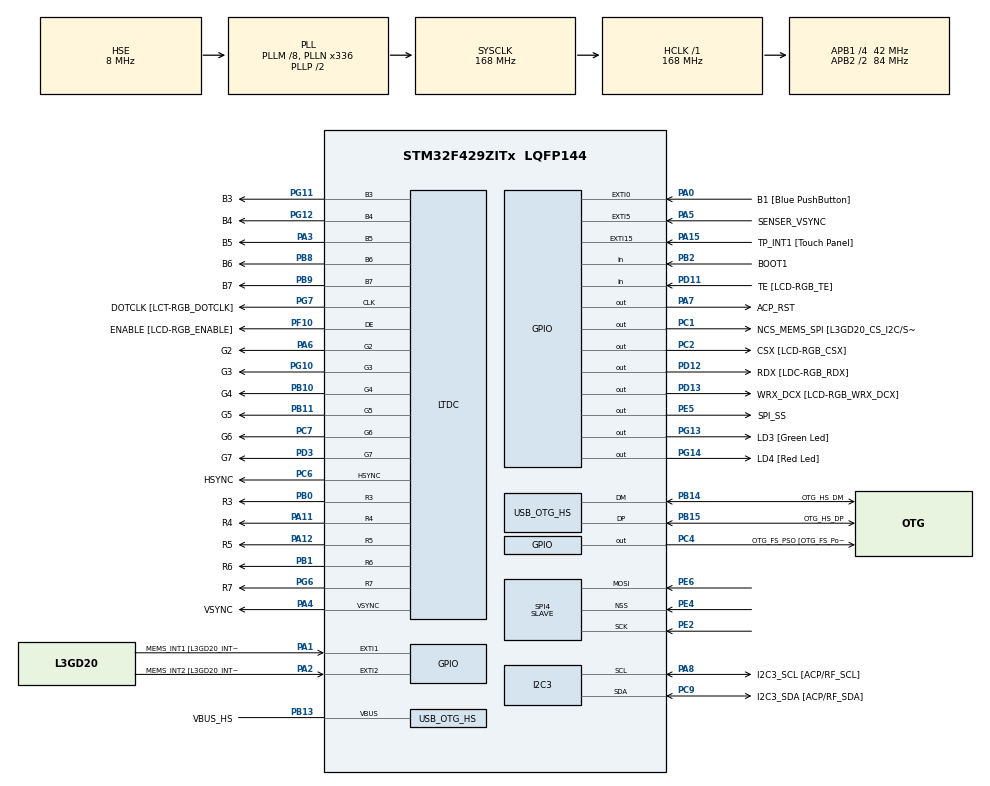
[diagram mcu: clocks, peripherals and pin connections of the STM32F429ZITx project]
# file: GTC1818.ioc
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Dma.I2C3_RX.1.Direction=DMA_PERIPH_TO_MEMORY
Dma.I2C3_RX.1.FIFOMode=DMA_FIFOMODE_DISABLE
Dma.I2C3_RX.1.Instance=DMA1_Stream2
Dma.I2C3_RX.1.MemDataAlignment=DMA_MDATAALIGN_BYTE
Dma.I2C3_RX.1.MemInc=DMA_MINC_ENABLE
Dma.I2C3_RX.1.Mode=DMA_NORMAL
Dma.I2C3_RX.1.PeriphDataAlignment=DMA_PDATAALIGN_BYTE
Dma.I2C3_RX.1.PeriphInc=DMA_PINC_DISABLE
Dma.I2C3_RX.1.Priority=DMA_PRIORITY_LOW
Dma.Request0=SPI4_RX
Dma.Request1=I2C3_RX
Dma.SPI4_RX.0.Direction=DMA_PERIPH_TO_MEMORY
Dma.SPI4_RX.0.FIFOMode=DMA_FIFOMODE_DISABLE
Dma.SPI4_RX.0.Instance=DMA2_Stream0
Dma.SPI4_RX.0.MemDataAlignment=DMA_MDATAALIGN_HALFWORD
Dma.SPI4_RX.0.MemInc=DMA_MINC_ENABLE
Dma.SPI4_RX.0.Mode=DMA_CIRCULAR
Dma.SPI4_RX.0.PeriphDataAlignment=DMA_PDATAALIGN_HALFWORD
Dma.SPI4_RX.0.PeriphInc=DMA_PINC_DISABLE
Dma.SPI4_RX.0.Priority=DMA_PRIORITY_LOW
LTDC.ActiveH=320
LTDC.ActiveW=240
LTDC.Alpha_L0=255
LTDC.BlendingFactor1_L0=LTDC_BLENDING_FACTOR1_PAxCA
LTDC.BlendingFactor2_L0=LTDC_BLENDING_FACTOR2_PAxCA
LTDC.FBStartAdress_L0=0xD0000000
LTDC.HBP=20
LTDC.HFP=10
LTDC.HSync=10
LTDC.ImageHeight_L0=320
LTDC.ImageWidth_L0=240
LTDC.Layers=0
LTDC.PixelFormat_L0=LTDC_PIXEL_FORMAT_RGB565
LTDC.VFP=4
LTDC.VSync=2
LTDC.WindowX1_L0=240
LTDC.WindowY1_L0=320
Mcu.Family=STM32F4
Mcu.Name=STM32F429ZITx
Mcu.Package=LQFP144
NVIC.DMA1_Stream2_IRQn=true\:0\:0\:false\:false\:true\:false\:true
NVIC.DMA2_Stream0_IRQn=true\:1\:0\:true\:false\:true\:false\:true
NVIC.EXTI0_IRQn=true\:0\:0\:false\:false\:true\:true\:true
NVIC.EXTI9_5_IRQn=true\:0\:0\:false\:false\:true\:true\:true
NVIC.LTDC_IRQn=true\:5\:0\:true\:false\:true\:true\:true
NVIC.OTG_HS_IRQn=true\:0\:0\:false\:false\:true\:true\:true
NVIC.PriorityGroup=NVIC_PRIORITYGROUP_4
NVIC.TIM6_DAC_IRQn=true\:0\:0\:false\:false\:true\:false\:true
NVIC.TimeBase=TIM6_DAC_IRQn
NVIC.TimeBaseIP=TIM6
PA0/WKUP.GPIO_Label=B1 [Blue PushButton]
PA0/WKUP.GPIO_ModeDefaultEXTI=GPIO_MODE_IT_RISING
PA0/WKUP.GPIO_PuPd=GPIO_NOPULL
PA0/WKUP.Signal=GPXTI0
PA1.GPIO_Label=MEMS_INT1 [L3GD20_INT1]
PA1.GPIO_ModeDefaultEXTI=GPIO_MODE_EVT_RISING
PA1.GPIO_PuPd=GPIO_NOPULL
PA1.Signal=GPXTI1
PA10.GPIO_Label=STLINK_TX [STM32F103CBT6_PA2]
PA10.Signal=USART1_RX
PA11.GPIO_Label=R4
PA11.GPIO_Mode=GPIO_MODE_AF_PP
PA11.GPIO_PuPd=GPIO_NOPULL
PA11.GPIO_Speed=GPIO_SPEED_FREQ_LOW
PA11.Mode=RGB565
PA11.Signal=LTDC_R4
PA12.GPIO_Label=R5
PA12.GPIO_Mode=GPIO_MODE_AF_PP
PA12.GPIO_PuPd=GPIO_NOPULL
PA12.GPIO_Speed=GPIO_SPEED_FREQ_LOW
PA12.Mode=RGB565
PA12.Signal=LTDC_R5
PA13.GPIO_Label=SWDIO
PA13.Mode=Serial_Wire
PA13.Signal=SYS_JTMS-SWDIO
PA14.GPIO_Label=SWCLK
PA14.Mode=Serial_Wire
PA14.Signal=SYS_JTCK-SWCLK
PA15.GPIO_Label=TP_INT1 [Touch Panel]
PA15.GPIO_ModeDefaultEXTI=GPIO_MODE_EVT_RISING
PA15.GPIO_PuPd=GPIO_NOPULL
PA15.Signal=GPXTI15
PA2.GPIO_Label=MEMS_INT2 [L3GD20_INT2]
PA2.GPIO_ModeDefaultEXTI=GPIO_MODE_EVT_RISING
PA2.GPIO_PuPd=GPIO_NOPULL
PA2.Signal=GPXTI2
PA3.GPIO_Label=B5
PA3.GPIO_Mode=GPIO_MODE_AF_PP
PA3.GPIO_PuPd=GPIO_NOPULL
PA3.GPIO_Speed=GPIO_SPEED_FREQ_LOW
PA3.Mode=RGB565
PA3.Signal=LTDC_B5
PA4.GPIO_Label=VSYNC
PA4.GPIO_Mode=GPIO_MODE_AF_PP
PA4.GPIO_PuPd=GPIO_NOPULL
PA4.GPIO_Speed=GPIO_SPEED_FREQ_LOW
PA4.Mode=RGB565
PA4.Signal=LTDC_VSYNC
PA5.GPIO_Label=SENSER_VSYNC
PA5.GPIO_ModeDefaultEXTI=GPIO_MODE_IT_FALLING
PA5.GPIO_PuPd=GPIO_PULLUP
PA5.Signal=GPXTI5
PA6.GPIO_Label=G2
PA6.GPIO_Mode=GPIO_MODE_AF_PP
PA6.GPIO_PuPd=GPIO_NOPULL
PA6.GPIO_Speed=GPIO_SPEED_FREQ_LOW
PA6.Mode=RGB565
PA6.Signal=LTDC_G2
PA7.GPIO_Label=ACP_RST
PA7.GPIO_Mode=GPIO_MODE_OUTPUT_PP
PA7.GPIO_PuPd=GPIO_NOPULL
PA7.GPIO_Speed=GPIO_SPEED_FREQ_LOW
PA7.Signal=GPIO_Output
PA8.GPIO_Label=I2C3_SCL [ACP/RF_SCL]
PA8.GPIO_Mode=GPIO_MODE_AF_OD
PA8.GPIO_PuPd=GPIO_NOPULL
PA8.GPIO_Speed=GPIO_SPEED_FREQ_LOW
PA8.Mode=I2C
PA8.Signal=I2C3_SCL
PA9.GPIO_Label=STLINK_RX [STM32F103CBT6_PA3]
PA9.Signal=USART1_TX
PB0.GPIO_Label=R3
PB0.GPIO_Mode=GPIO_MODE_AF_PP
PB0.GPIO_PuPd=GPIO_NOPULL
PB0.GPIO_Speed=GPIO_SPEED_FREQ_LOW
PB0.Mode=RGB565
PB0.Signal=LTDC_R3
PB1.GPIO_Label=R6
PB1.GPIO_Mode=GPIO_MODE_AF_PP
PB1.GPIO_PuPd=GPIO_NOPULL
PB1.GPIO_Speed=GPIO_SPEED_FREQ_LOW
PB1.Mode=RGB565
PB1.Signal=LTDC_R6
PB10.GPIO_Label=G4
PB10.GPIO_Mode=GPIO_MODE_AF_PP
PB10.GPIO_PuPd=GPIO_NOPULL
PB10.GPIO_Speed=GPIO_SPEED_FREQ_LOW
PB10.Mode=RGB565
PB10.Signal=LTDC_G4
PB11.GPIO_Label=G5
PB11.GPIO_Mode=GPIO_MODE_AF_PP
PB11.GPIO_PuPd=GPIO_NOPULL
PB11.GPIO_Speed=GPIO_SPEED_FREQ_LOW
PB11.Mode=RGB565
PB11.Signal=LTDC_G5
PB12.GPIO_Label=OTG_HS_ID
PB12.GPIO_Mode=GPIO_MODE_AF_PP
PB12.GPIO_PuPd=GPIO_NOPULL
PB12.GPIO_Speed=GPIO_SPEED_FREQ_LOW
PB12.Signal=USB_OTG_HS_ID
PB13.GPIO_Label=VBUS_HS
PB13.GPIO_Mode=GPIO_MODE_INPUT
PB13.GPIO_PuPd=GPIO_NOPULL
PB13.Mode=Activate_VBUS_FS
PB13.Signal=USB_OTG_HS_VBUS
PB14.GPIO_Label=OTG_HS_DM
PB14.GPIO_Mode=GPIO_MODE_AF_PP
PB14.GPIO_PuPd=GPIO_NOPULL
PB14.GPIO_Speed=GPIO_SPEED_FREQ_LOW
PB14.Mode=Device_Only_FS
PB14.Signal=USB_OTG_HS_DM
PB15.GPIO_Label=OTG_HS_DP
PB15.GPIO_Mode=GPIO_MODE_AF_PP
PB15.GPIO_PuPd=GPIO_NOPULL
PB15.GPIO_Speed=GPIO_SPEED_FREQ_LOW
PB15.Mode=Device_Only_FS
PB15.Signal=USB_OTG_HS_DP
PB2/BOOT1.GPIO_Label=BOOT1
PB2/BOOT1.GPIO_Mode=GPIO_MODE_INPUT
PB2/BOOT1.GPIO_PuPd=GPIO_NOPULL
PB2/BOOT1.Signal=GPIO_Input
PB5.GPIO_Label=SDCKE1
PB5.GPIO_Mode=GPIO_MODE_AF_PP
PB5.GPIO_PuPd=GPIO_NOPULL
PB5.GPIO_Speed=GPIO_SPEED_FREQ_VERY_HIGH
PB5.Signal=FMC_SDCKE1
PB6.GPIO_Label=SDNE1 [SDRAM_CS]
PB6.GPIO_Mode=GPIO_MODE_AF_PP
PB6.GPIO_PuPd=GPIO_NOPULL
PB6.GPIO_Speed=GPIO_SPEED_FREQ_VERY_HIGH
PB6.Signal=FMC_SDNE1
PB8.GPIO_Label=B6
PB8.GPIO_Mode=GPIO_MODE_AF_PP
PB8.GPIO_PuPd=GPIO_NOPULL
PB8.GPIO_Speed=GPIO_SPEED_FREQ_LOW
PB8.Mode=RGB565
PB8.Signal=LTDC_B6
PB9.GPIO_Label=B7
PB9.GPIO_Mode=GPIO_MODE_AF_PP
PB9.GPIO_PuPd=GPIO_NOPULL
PB9.GPIO_Speed=GPIO_SPEED_FREQ_LOW
PB9.Mode=RGB565
PB9.Signal=LTDC_B7
PC0.GPIO_Label=SDNWE
PC0.GPIO_Mode=GPIO_MODE_AF_PP
PC0.GPIO_PuPd=GPIO_NOPULL
PC0.GPIO_Speed=GPIO_SPEED_FREQ_VERY_HIGH
PC0.Signal=FMC_SDNWE
PC1.GPIO_Label=NCS_MEMS_SPI [L3GD20_CS_I2C/SPI]
PC1.GPIO_Mode=GPIO_MODE_OUTPUT_PP
PC1.GPIO_PuPd=GPIO_NOPULL
PC1.GPIO_Speed=GPIO_SPEED_FREQ_LOW
PC1.Signal=GPIO_Output
PC10.GPIO_Label=R2
PC10.GPIO_Mode=GPIO_MODE_AF_PP
PC10.GPIO_PuPd=GPIO_NOPULL
PC10.GPIO_Speed=GPIO_SPEED_FREQ_LOW
PC10.Signal=LTDC_R2
PC14/OSC32_IN.GPIO_Label=PC14-OSC32_IN
PC14/OSC32_IN.Signal=RCC_OSC32_IN
PC15/OSC32_OUT.GPIO_Label=PC15-OSC32_OUT
PC15/OSC32_OUT.Signal=RCC_OSC32_OUT
PC2.GPIO_Label=CSX [LCD-RGB_CSX]
PC2.GPIO_Mode=GPIO_MODE_OUTPUT_PP
PC2.GPIO_PuPd=GPIO_NOPULL
PC2.GPIO_Speed=GPIO_SPEED_FREQ_LOW
PC2.Signal=GPIO_Output
PC4.GPIO_Label=OTG_FS_PSO [OTG_FS_PowerSwitchOn]
PC4.GPIO_Mode=GPIO_MODE_OUTPUT_PP
PC4.GPIO_PuPd=GPIO_NOPULL
PC4.GPIO_Speed=GPIO_SPEED_FREQ_LOW
PC4.Signal=GPIO_Output
PC6.GPIO_Label=HSYNC
PC6.GPIO_Mode=GPIO_MODE_AF_PP
PC6.GPIO_PuPd=GPIO_NOPULL
PC6.GPIO_Speed=GPIO_SPEED_FREQ_LOW
PC6.Mode=RGB565
PC6.Signal=LTDC_HSYNC
PC7.GPIO_Label=G6
PC7.GPIO_Mode=GPIO_MODE_AF_PP
PC7.GPIO_PuPd=GPIO_NOPULL
PC7.GPIO_Speed=GPIO_SPEED_FREQ_LOW
PC7.Mode=RGB565
PC7.Signal=LTDC_G6
PC9.GPIO_Label=I2C3_SDA [ACP/RF_SDA]
PC9.GPIO_Mode=GPIO_MODE_AF_OD
PC9.GPIO_PuPd=GPIO_NOPULL
PC9.GPIO_Speed=GPIO_SPEED_FREQ_LOW
PC9.Mode=I2C
PC9.Signal=I2C3_SDA
PD0.GPIO_Label=D2
PD0.GPIO_Mode=GPIO_MODE_AF_PP
PD0.GPIO_PuPd=GPIO_NOPULL
PD0.GPIO_Speed=GPIO_SPEED_FREQ_VERY_HIGH
PD0.Signal=FMC_D2_DA2
PD1.GPIO_Label=D3
PD1.GPIO_Mode=GPIO_MODE_AF_PP
PD1.GPIO_PuPd=GPIO_NOPULL
PD1.GPIO_Speed=GPIO_SPEED_FREQ_VERY_HIGH
PD1.Signal=FMC_D3_DA3
PD10.GPIO_Label=D15
PD10.GPIO_Mode=GPIO_MODE_AF_PP
PD10.GPIO_PuPd=GPIO_NOPULL
PD10.GPIO_Speed=GPIO_SPEED_FREQ_VERY_HIGH
PD10.Signal=FMC_D15_DA15
PD11.GPIO_Label=TE [LCD-RGB_TE]
PD11.GPIO_Mode=GPIO_MODE_INPUT
PD11.GPIO_PuPd=GPIO_NOPULL
PD11.Signal=GPIO_Input
PD12.GPIO_Label=RDX [LDC-RGB_RDX]
PD12.GPIO_Mode=GPIO_MODE_OUTPUT_PP
PD12.GPIO_PuPd=GPIO_NOPULL
PD12.GPIO_Speed=GPIO_SPEED_FREQ_LOW
PD12.Signal=GPIO_Output
PD13.GPIO_Label=WRX_DCX [LCD-RGB_WRX_DCX]
PD13.GPIO_Mode=GPIO_MODE_OUTPUT_PP
PD13.GPIO_PuPd=GPIO_NOPULL
PD13.GPIO_Speed=GPIO_SPEED_FREQ_LOW
PD13.Signal=GPIO_Output
PD14.GPIO_Label=D0
PD14.GPIO_Mode=GPIO_MODE_AF_PP
PD14.GPIO_PuPd=GPIO_NOPULL
PD14.GPIO_Speed=GPIO_SPEED_FREQ_VERY_HIGH
PD14.Signal=FMC_D0_DA0
PD15.GPIO_Label=D1
PD15.GPIO_Mode=GPIO_MODE_AF_PP
PD15.GPIO_PuPd=GPIO_NOPULL
PD15.GPIO_Speed=GPIO_SPEED_FREQ_VERY_HIGH
PD15.Signal=FMC_D1_DA1
PD3.GPIO_Label=G7
PD3.GPIO_Mode=GPIO_MODE_AF_PP
PD3.GPIO_PuPd=GPIO_NOPULL
PD3.GPIO_Speed=GPIO_SPEED_FREQ_LOW
PD3.Mode=RGB565
PD3.Signal=LTDC_G7
PD6.GPIO_Label=B2
PD6.GPIO_Mode=GPIO_MODE_AF_PP
PD6.GPIO_PuPd=GPIO_NOPULL
PD6.GPIO_Speed=GPIO_SPEED_FREQ_LOW
PD6.Signal=LTDC_B2
PD8.GPIO_Label=D13
PD8.GPIO_Mode=GPIO_MODE_AF_PP
PD8.GPIO_PuPd=GPIO_NOPULL
PD8.GPIO_Speed=GPIO_SPEED_FREQ_VERY_HIGH
PD8.Signal=FMC_D13_DA13
PD9.GPIO_Label=D14
PD9.GPIO_Mode=GPIO_MODE_AF_PP
PD9.GPIO_PuPd=GPIO_NOPULL
PD9.GPIO_Speed=GPIO_SPEED_FREQ_VERY_HIGH
PD9.Signal=FMC_D14_DA14
PE0.GPIO_Label=NBL0 [SDRAM_LDQM]
PE0.GPIO_Mode=GPIO_MODE_AF_PP
PE0.GPIO_PuPd=GPIO_NOPULL
PE0.GPIO_Speed=GPIO_SPEED_FREQ_VERY_HIGH
PE0.Signal=FMC_NBL0
PE1.GPIO_Label=NBL1 [SDRAM_UDQM]
PE1.GPIO_Mode=GPIO_MODE_AF_PP
PE1.GPIO_PuPd=GPIO_NOPULL
PE1.GPIO_Speed=GPIO_SPEED_FREQ_VERY_HIGH
PE1.Signal=FMC_NBL1
PE10.GPIO_Label=D7
PE10.GPIO_Mode=GPIO_MODE_AF_PP
PE10.GPIO_PuPd=GPIO_NOPULL
PE10.GPIO_Speed=GPIO_SPEED_FREQ_VERY_HIGH
PE10.Signal=FMC_D7_DA7
PE11.GPIO_Label=D8
PE11.GPIO_Mode=GPIO_MODE_AF_PP
PE11.GPIO_PuPd=GPIO_NOPULL
PE11.GPIO_Speed=GPIO_SPEED_FREQ_VERY_HIGH
PE11.Signal=FMC_D8_DA8
PE12.GPIO_Label=D9
PE12.GPIO_Mode=GPIO_MODE_AF_PP
PE12.GPIO_PuPd=GPIO_NOPULL
PE12.GPIO_Speed=GPIO_SPEED_FREQ_VERY_HIGH
PE12.Signal=FMC_D9_DA9
PE13.GPIO_Label=D10
PE13.GPIO_Mode=GPIO_MODE_AF_PP
PE13.GPIO_PuPd=GPIO_NOPULL
PE13.GPIO_Speed=GPIO_SPEED_FREQ_VERY_HIGH
PE13.Signal=FMC_D10_DA10
PE14.GPIO_Label=D11
PE14.GPIO_Mode=GPIO_MODE_AF_PP
PE14.GPIO_PuPd=GPIO_NOPULL
PE14.GPIO_Speed=GPIO_SPEED_FREQ_VERY_HIGH
PE14.Signal=FMC_D11_DA11
PE15.GPIO_Label=D12
PE15.GPIO_Mode=GPIO_MODE_AF_PP
PE15.GPIO_PuPd=GPIO_NOPULL
PE15.GPIO_Speed=GPIO_SPEED_FREQ_VERY_HIGH
PE15.Signal=FMC_D12_DA12
PE2.Mode=RX_Only_Simplex_Unidirect_Slave
PE2.Signal=SPI4_SCK
PE4.Mode=NSS_Signal_Hard_Input
PE4.Signal=SPI4_NSS
PE5.GPIO_Label=SPI_SS
PE5.Signal=GPIO_Output
PE6.Mode=RX_Only_Simplex_Unidirect_Slave
PE6.Signal=SPI4_MOSI
PE7.GPIO_Label=D4
PE7.GPIO_Mode=GPIO_MODE_AF_PP
PE7.GPIO_PuPd=GPIO_NOPULL
PE7.GPIO_Speed=GPIO_SPEED_FREQ_VERY_HIGH
PE7.Signal=FMC_D4_DA4
PE8.GPIO_Label=D5
PE8.GPIO_Mode=GPIO_MODE_AF_PP
PE8.GPIO_PuPd=GPIO_NOPULL
PE8.GPIO_Speed=GPIO_SPEED_FREQ_VERY_HIGH
PE8.Signal=FMC_D5_DA5
PE9.GPIO_Label=D6
PE9.GPIO_Mode=GPIO_MODE_AF_PP
PE9.GPIO_PuPd=GPIO_NOPULL
PE9.GPIO_Speed=GPIO_SPEED_FREQ_VERY_HIGH
PE9.Signal=FMC_D6_DA6
PF0.GPIO_Label=A0
PF0.GPIO_Mode=GPIO_MODE_AF_PP
PF0.GPIO_PuPd=GPIO_NOPULL
PF0.GPIO_Speed=GPIO_SPEED_FREQ_VERY_HIGH
PF0.Signal=FMC_A0
PF1.GPIO_Label=A1
PF1.GPIO_Mode=GPIO_MODE_AF_PP
PF1.GPIO_PuPd=GPIO_NOPULL
PF1.GPIO_Speed=GPIO_SPEED_FREQ_VERY_HIGH
PF1.Signal=FMC_A1
PF10.GPIO_Label=ENABLE [LCD-RGB_ENABLE]
PF10.GPIO_Mode=GPIO_MODE_AF_PP
PF10.GPIO_PuPd=GPIO_NOPULL
PF10.GPIO_Speed=GPIO_SPEED_FREQ_LOW
PF10.Mode=RGB565
PF10.Signal=LTDC_DE
PF11.GPIO_Label=SDNRAS
PF11.GPIO_Mode=GPIO_MODE_AF_PP
PF11.GPIO_PuPd=GPIO_NOPULL
PF11.GPIO_Speed=GPIO_SPEED_FREQ_VERY_HIGH
PF11.Signal=FMC_SDNRAS
PF12.GPIO_Label=A6
PF12.GPIO_Mode=GPIO_MODE_AF_PP
PF12.GPIO_PuPd=GPIO_NOPULL
PF12.GPIO_Speed=GPIO_SPEED_FREQ_VERY_HIGH
PF12.Signal=FMC_A6
PF13.GPIO_Label=A7
PF13.GPIO_Mode=GPIO_MODE_AF_PP
PF13.GPIO_PuPd=GPIO_NOPULL
PF13.GPIO_Speed=GPIO_SPEED_FREQ_VERY_HIGH
PF13.Signal=FMC_A7
PF14.GPIO_Label=A8
PF14.GPIO_Mode=GPIO_MODE_AF_PP
PF14.GPIO_PuPd=GPIO_NOPULL
PF14.GPIO_Speed=GPIO_SPEED_FREQ_VERY_HIGH
PF14.Signal=FMC_A8
PF15.GPIO_Label=A9
PF15.GPIO_Mode=GPIO_MODE_AF_PP
PF15.GPIO_PuPd=GPIO_NOPULL
PF15.GPIO_Speed=GPIO_SPEED_FREQ_VERY_HIGH
PF15.Signal=FMC_A9
PF2.GPIO_Label=A2
PF2.GPIO_Mode=GPIO_MODE_AF_PP
PF2.GPIO_PuPd=GPIO_NOPULL
PF2.GPIO_Speed=GPIO_SPEED_FREQ_VERY_HIGH
PF2.Signal=FMC_A2
PF3.GPIO_Label=A3
PF3.GPIO_Mode=GPIO_MODE_AF_PP
PF3.GPIO_PuPd=GPIO_NOPULL
PF3.GPIO_Speed=GPIO_SPEED_FREQ_VERY_HIGH
PF3.Signal=FMC_A3
PF4.GPIO_Label=A4
PF4.GPIO_Mode=GPIO_MODE_AF_PP
PF4.GPIO_PuPd=GPIO_NOPULL
PF4.GPIO_Speed=GPIO_SPEED_FREQ_VERY_HIGH
PF4.Signal=FMC_A4
PF5.GPIO_Label=A5
PF5.GPIO_Mode=GPIO_MODE_AF_PP
PF5.GPIO_PuPd=GPIO_NOPULL
PF5.GPIO_Speed=GPIO_SPEED_FREQ_VERY_HIGH
PF5.Signal=FMC_A5
PF7.GPIO_Label=SPI5_SCK [L3GD20_SCL/SPC]
PF7.GPIO_Mode=GPIO_MODE_AF_PP
PF7.GPIO_PuPd=GPIO_NOPULL
PF7.GPIO_Speed=GPIO_SPEED_FREQ_LOW
PF7.Signal=SPI5_SCK
PF8.GPIO_Label=SPI5_MISO [L3GD20_SDO]
PF8.GPIO_Mode=GPIO_MODE_AF_PP
PF8.GPIO_PuPd=GPIO_NOPULL
PF8.GPIO_Speed=GPIO_SPEED_FREQ_LOW
PF8.Signal=SPI5_MISO
PF9.GPIO_Label=SPI5_MOSI [L3GD20_SDA/SDI/SDO]
PF9.GPIO_Mode=GPIO_MODE_AF_PP
PF9.GPIO_PuPd=GPIO_NOPULL
PF9.GPIO_Speed=GPIO_SPEED_FREQ_LOW
PF9.Signal=SPI5_MOSI
PG0.GPIO_Label=A10
PG0.GPIO_Mode=GPIO_MODE_AF_PP
PG0.GPIO_PuPd=GPIO_NOPULL
PG0.GPIO_Speed=GPIO_SPEED_FREQ_VERY_HIGH
PG0.Signal=FMC_A10
PG1.GPIO_Label=A11
PG1.GPIO_Mode=GPIO_MODE_AF_PP
PG1.GPIO_PuPd=GPIO_NOPULL
PG1.GPIO_Speed=GPIO_SPEED_FREQ_VERY_HIGH
PG1.Signal=FMC_A11
PG10.GPIO_Label=G3
PG10.GPIO_Mode=GPIO_MODE_AF_PP
PG10.GPIO_PuPd=GPIO_NOPULL
PG10.GPIO_Speed=GPIO_SPEED_FREQ_LOW
PG10.Mode=RGB565
PG10.Signal=LTDC_G3
PG11.GPIO_Label=B3
PG11.GPIO_Mode=GPIO_MODE_AF_PP
PG11.GPIO_PuPd=GPIO_NOPULL
PG11.GPIO_Speed=GPIO_SPEED_FREQ_LOW
PG11.Mode=RGB565
PG11.Signal=LTDC_B3
PG12.GPIO_Label=B4
PG12.GPIO_Mode=GPIO_MODE_AF_PP
PG12.GPIO_PuPd=GPIO_NOPULL
PG12.GPIO_Speed=GPIO_SPEED_FREQ_LOW
PG12.Mode=RGB565
PG12.Signal=LTDC_B4
PG13.GPIO_Label=LD3 [Green Led]
PG13.GPIO_Mode=GPIO_MODE_OUTPUT_PP
PG13.GPIO_PuPd=GPIO_NOPULL
PG13.GPIO_Speed=GPIO_SPEED_FREQ_LOW
PG13.Signal=GPIO_Output
PG14.GPIO_Label=LD4 [Red Led]
PG14.GPIO_Mode=GPIO_MODE_OUTPUT_PP
PG14.GPIO_PuPd=GPIO_NOPULL
PG14.GPIO_Speed=GPIO_SPEED_FREQ_LOW
PG14.Signal=GPIO_Output
PG15.GPIO_Label=SDNCAS
PG15.GPIO_Mode=GPIO_MODE_AF_PP
PG15.GPIO_PuPd=GPIO_NOPULL
PG15.GPIO_Speed=GPIO_SPEED_FREQ_VERY_HIGH
PG15.Signal=FMC_SDNCAS
PG4.GPIO_Label=BA0
PG4.GPIO_Mode=GPIO_MODE_AF_PP
PG4.GPIO_PuPd=GPIO_NOPULL
PG4.GPIO_Speed=GPIO_SPEED_FREQ_VERY_HIGH
PG4.Signal=FMC_A14_BA0
PG5.GPIO_Label=BA1
PG5.GPIO_Mode=GPIO_MODE_AF_PP
PG5.GPIO_PuPd=GPIO_NOPULL
PG5.GPIO_Speed=GPIO_SPEED_FREQ_VERY_HIGH
PG5.Signal=FMC_A15_BA1
PG6.GPIO_Label=R7
PG6.GPIO_Mode=GPIO_MODE_AF_PP
PG6.GPIO_PuPd=GPIO_NOPULL
PG6.GPIO_Speed=GPIO_SPEED_FREQ_LOW
PG6.Mode=RGB565
PG6.Signal=LTDC_R7
PG7.GPIO_Label=DOTCLK [LCT-RGB_DOTCLK]
PG7.GPIO_Mode=GPIO_MODE_AF_PP
PG7.GPIO_PuPd=GPIO_NOPULL
PG7.GPIO_Speed=GPIO_SPEED_FREQ_LOW
PG7.Mode=RGB565
PG7.Signal=LTDC_CLK
PG8.GPIO_Label=SDCLK
PG8.GPIO_Mode=GPIO_MODE_AF_PP
PG8.GPIO_PuPd=GPIO_NOPULL
PG8.GPIO_Speed=GPIO_SPEED_FREQ_VERY_HIGH
PG8.Signal=FMC_SDCLK
PH0/OSC_IN.GPIO_Label=PH0-OSC_IN
PH0/OSC_IN.Mode=HSE-External-Oscillator
PH0/OSC_IN.Signal=RCC_OSC_IN
PH1/OSC_OUT.GPIO_Label=PH1-OSC_OUT
PH1/OSC_OUT.Mode=HSE-External-Oscillator
PH1/OSC_OUT.Signal=RCC_OSC_OUT
ProjectManager.HeapSize=0x2000
ProjectManager.StackSize=0x4000
ProjectManager.TargetToolchain=MDK-ARM V5.27
RCC.48MHZClocksFreq_Value=48000000
RCC.AHBFreq_Value=168000000
RCC.APB1CLKDivider=RCC_HCLK_DIV4
RCC.APB1Freq_Value=42000000
RCC.APB1TimFreq_Value=84000000
RCC.APB2CLKDivider=RCC_HCLK_DIV2
RCC.APB2Freq_Value=84000000
RCC.APB2TimFreq_Value=168000000
RCC.CortexFreq_Value=168000000
RCC.HCLKFreq_Value=168000000
RCC.HSE_VALUE=8000000
RCC.HSI_VALUE=16000000
RCC.LSE_VALUE=32768
RCC.PLLM=8
RCC.PLLN=336
RCC.PLLQ=7
RCC.PLLSAIN=100
RCC.SYSCLKFreq_VALUE=168000000
RCC.SYSCLKSource=RCC_SYSCLKSOURCE_PLLCLK
RCC.VCOOutputFreq_Value=336000000
SH.FMC_A0.0=FMC_A0
SH.FMC_A1.0=FMC_A1
SH.FMC_A10.0=FMC_A10
SH.FMC_A11.0=FMC_A11
SH.FMC_A14_BA0.0=FMC_BA0
SH.FMC_A15_BA1.0=FMC_BA1
SH.FMC_A2.0=FMC_A2
SH.FMC_A3.0=FMC_A3
SH.FMC_A4.0=FMC_A4
SH.FMC_A5.0=FMC_A5
SH.FMC_A6.0=FMC_A6
SH.FMC_A7.0=FMC_A7
SH.FMC_A8.0=FMC_A8
SH.FMC_A9.0=FMC_A9
SH.FMC_D0_DA0.0=FMC_D0
SH.FMC_D10_DA10.0=FMC_D10
SH.FMC_D11_DA11.0=FMC_D11
SH.FMC_D12_DA12.0=FMC_D12
SH.FMC_D13_DA13.0=FMC_D13
SH.FMC_D14_DA14.0=FMC_D14
SH.FMC_D15_DA15.0=FMC_D15
SH.FMC_D1_DA1.0=FMC_D1
SH.FMC_D2_DA2.0=FMC_D2
SH.FMC_D3_DA3.0=FMC_D3
SH.FMC_D4_DA4.0=FMC_D4
SH.FMC_D5_DA5.0=FMC_D5
SH.FMC_D6_DA6.0=FMC_D6
SH.FMC_D7_DA7.0=FMC_D7
SH.FMC_D8_DA8.0=FMC_D8
SH.FMC_D9_DA9.0=FMC_D9
SH.FMC_NBL0.0=FMC_NBL0
SH.FMC_NBL1.0=FMC_NBL1
SH.FMC_SDCLK.0=FMC_SDCLK
SH.FMC_SDNCAS.0=FMC_SDNCAS
SH.FMC_SDNRAS.0=FMC_SDNRAS
SH.FMC_SDNWE.0=FMC_SDNWE
SPI4.DataSize=SPI_DATASIZE_16BIT
SPI4.Direction=SPI_DIRECTION_2LINES_RXONLY
SPI4.Mode=SPI_MODE_SLAVE
SPI4.VirtualNSS=VM_NSSHARD
SPI4.VirtualType=VM_SLAVE
USB_DEVICE.APP_RX_DATA_SIZE-CDC_HS=2048
USB_DEVICE.APP_TX_DATA_SIZE-CDC_HS=2048
USB_DEVICE.CLASS_NAME_HS=CDC
USB_DEVICE.MANUFACTURER_STRING-CDC_HS=GTC
USB_DEVICE.PID_CDC_HS=0x0018
USB_DEVICE.PRODUCT_STRING_CDC_HS=GTC1818
USB_DEVICE.USBD_MAX_STR_DESC_SIZ-CDC_HS=64
USB_DEVICE.VID-CDC_HS=0x5791
USB_DEVICE.VirtualMode-CDC_HS=Cdc
USB_DEVICE.VirtualModeHS=Cdc_HS
USB_OTG_HS.VirtualMode-Device_Only_FS=Device_Only_FS
VP_SYS_VS_tim6.Mode=TIM6
VP_USB_DEVICE_VS_USB_DEVICE_CDC_HS.Mode=CDC_HS
board=STM32F429I-DISC1

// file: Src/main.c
/* USER CODE BEGIN Header */
/**
  ******************************************************************************
  * @file           : main.c
  * @brief          : Main program body
  ******************************************************************************
  * @attention
  *
  * <h2><center>&copy; Copyright (c) 2020 STMicroelectronics.
  * All rights reserved.</center></h2>
  *
  * This software component is licensed by ST under Ultimate Liberty license
  * SLA0044, the "License"; You may not use this file except in compliance with
  * the License. You may obtain a copy of the License at:
  *                             www.st.com/SLA0044
  *
  ******************************************************************************
  */
/* USER CODE END Header */

#include "main.h"
#include "usb_device.h"

/* USER CODE BEGIN Includes */

#include "usbd_cdc_if.h"
#include "stdint.h"

/* USER CODE END Includes */

I2C_HandleTypeDef hi2c3;
DMA_HandleTypeDef hdma_i2c3_rx;

LTDC_HandleTypeDef hltdc;

SPI_HandleTypeDef hspi4;
DMA_HandleTypeDef hdma_spi4_rx;

void SystemClock_Config(void);
static void MX_GPIO_Init(void);
static void MX_DMA_Init(void);
static void MX_I2C3_Init(void);
static void MX_LTDC_Init(void);
static void MX_SPI4_Init(void);

/* USER CODE BEGIN 0 */

// cdc package buffer
USER_CDC_PACKAGE_TYPE_t user_cdc_buffer;

// current frame size
uint8_t frameSizeWidth=0;
uint8_t frameSizeHeight=0;

// 2 times image buffer from spi
uint8_t imgBuffer[2*22*22*2+2];
uint8_t calibrationPixel[2*18*2]={0x00,0x00,0x0F,0x0F,0x1E,0x1E,0x2D,0x2D,\
                                  0x3C,0x3C,0x4B,0x4B,0x5A,0x5A,0x69,0x69,\
                                  0x78,0x78,0x87,0x87,0x96,0x96,0xA5,0xA5,\
                                  0xB4,0xB4,0xC3,0xC3,0xD2,0xD2,0xE1,0xE1,\
                                  0xF0,0xF0,0xFF,0xFF,0x00,0x00,0x0F,0x0F,\
                                  0x1E,0x1E,0x2D,0x2D,0x3C,0x3C,0x4B,0x4B,\
                                  0x5A,0x5A,0x69,0x69,0x78,0x78,0x87,0x87,\
                                  0x96,0x96,0xA5,0xA5,0xB4,0xB4,0xC3,0xC3,\
                                  0xD2,0xD2,0xE1,0xE1,0xF0,0xF0,0xFF,0xFF};

// i2c control value buffer
uint8_t ctrlBuffer[100];

// image pointer
uint8_t imgRead=0;
// cdc command buffer
uint8_t commands[4];
// double frame buffer selector
uint8_t frameReady=1;
uint8_t ready=0;
// uint8_t sync=0;

// create testFrame
void createFrame(){
  for(int i=0;i<sizeof(imgBuffer);i++){
    imgBuffer[i]=i%256;
  }
}

// first read frame size on system startup
void getFrameSize(){
  commands[0]=28;
  HAL_I2C_Master_Transmit(&hi2c3,0x40,commands,1,10);
  HAL_I2C_Master_Receive(&hi2c3,0x40,&ctrlBuffer[28],1,10);
  commands[0]=30;
  HAL_I2C_Master_Transmit(&hi2c3,0x40,commands,1,10);
  HAL_I2C_Master_Receive(&hi2c3,0x40,&ctrlBuffer[30],1,10);
  commands[0]=32;
  HAL_I2C_Master_Transmit(&hi2c3,0x40,commands,1,10);
  HAL_I2C_Master_Receive(&hi2c3,0x40,&ctrlBuffer[32],1,10);
  commands[0]=34;
  HAL_I2C_Master_Transmit(&hi2c3,0x40,commands,1,10);
  HAL_I2C_Master_Receive(&hi2c3,0x40,&ctrlBuffer[34],1,10);

  ctrlBuffer[32]=21;
  ctrlBuffer[34]=21;
  ctrlBuffer[28]=0;
  ctrlBuffer[30]=0;

  if(0<ctrlBuffer[32]-ctrlBuffer[28]+1 && ctrlBuffer[32]-ctrlBuffer[28]+1<23){
    frameSizeWidth=ctrlBuffer[32]-ctrlBuffer[28]+1;
  }
  if(0<ctrlBuffer[34]-ctrlBuffer[30]+1 && ctrlBuffer[34]-ctrlBuffer[30]+1<23){
    frameSizeHeight=ctrlBuffer[34]-ctrlBuffer[30]+1;
  }
}

// preset spi and dma interface then wait the vsync fail
void resyncFrame(){
  HAL_NVIC_DisableIRQ(EXTI9_5_IRQn);
  HAL_GPIO_WritePin(SPI_SS_GPIO_Port,SPI_SS_Pin,GPIO_PIN_SET);
  HAL_SPI_DeInit(&hspi4);
  HAL_DMA_DeInit(&hdma_spi4_rx);
  HAL_DMA_Init(&hdma_spi4_rx);
  HAL_SPI_Init(&hspi4);
  HAL_SPI_Receive_DMA(&hspi4,(uint8_t*)imgBuffer,2*frameSizeWidth*frameSizeHeight);
  // frameReady=4;

  // clear imgBuffer to check if frame size changed
  // for(int i=0;i<sizeof(imgBuffer);i++) imgBuffer[i]=0;

  HAL_NVIC_EnableIRQ(EXTI9_5_IRQn);
}

void HAL_GPIO_EXTI_Callback(uint16_t GPIO_Pin){
  if(GPIO_Pin==SENSER_VSYNC_Pin){
    HAL_GPIO_TogglePin(LD3_GPIO_Port,LD3_Pin);
  }
  if(GPIO_Pin==B1_Pin){
    HAL_GPIO_TogglePin(LD4_GPIO_Port,LD4_Pin);
    HAL_NVIC_DisableIRQ(EXTI0_IRQn);
  }
  // getFrameSize();
  // resyncFrame();
}

// spi complete indicator
void HAL_SPI_RxCpltCallback(SPI_HandleTypeDef *hspi){
 HAL_GPIO_TogglePin(GPIOG,GPIO_PIN_13);
 HAL_GPIO_TogglePin(GPIOG,GPIO_PIN_13);
	// ;
}

/* USER CODE END 0 */

int main(void)
{

  /* MCU Configuration--------------------------------------------------------*/

  /* Reset of all peripherals, Initializes the Flash interface and the Systick. */
  HAL_Init();

  /* Configure the system clock */
  SystemClock_Config();

  /* Initialize all configured peripherals */
  MX_GPIO_Init();
  MX_DMA_Init();
  MX_I2C3_Init();
  MX_LTDC_Init();
  MX_USB_DEVICE_Init();
  MX_SPI4_Init();
  /* USER CODE BEGIN 2 */

  // read frame size for gui screen
  getFrameSize();
  // first frame sync on system startup
  // resyncFrame();
  createFrame();

  /* USER CODE END 2 */

  /* Infinite loop */
  /* USER CODE BEGIN WHILE */
  while (1){

    // cdc command handler
		if(user_cdc_buffer.len>0){
      switch(user_cdc_buffer.data[0]){
      // read frame size
        case 10:
          if(ctrlBuffer[32]-ctrlBuffer[28]+1>0){
            frameSizeWidth=ctrlBuffer[32]-ctrlBuffer[28]+1;
          }
          commands[0]=10; //ack
          commands[1]=frameSizeWidth;
          commands[2]=ctrlBuffer[28];
          commands[3]=ctrlBuffer[32];
          CDC_Transmit_HS(commands,4);
          break;
        case 11:
          if(ctrlBuffer[34]-ctrlBuffer[30]+1>0){
            frameSizeHeight=ctrlBuffer[34]-ctrlBuffer[30]+1;
          }
          commands[0]=11; //ack
          commands[1]=frameSizeHeight;
          commands[2]=ctrlBuffer[30];
          commands[3]=ctrlBuffer[34];
          CDC_Transmit_HS(commands,4);
          break;
      // read imgBuffer
        case 17:
          imgRead=1;
          break;
      // read calibration
        case 20:
          imgRead=2;
          break;
      /**
       * i2c write special address
       *   cdc => ctrlBuffer[x]
       *   ack + ctrlBuffer[x] => cdc ack(1 bytes)
       */
        case 33:
          ctrlBuffer[user_cdc_buffer.data[1]]=user_cdc_buffer.data[2];
          commands[0]=user_cdc_buffer.data[1];
          commands[1]=user_cdc_buffer.data[2];
          HAL_I2C_Master_Transmit(&hi2c3,0x40,commands,2,10);
          if(commands[0]==18\
          || commands[0]==19\
          || commands[0]==20\
          || commands[0]==21\
          || commands[0]==28\
          || commands[0]==30\
          || commands[0]==32\
          || commands[0]==34){
            if(ctrlBuffer[32]-ctrlBuffer[28]+1>0){
              frameSizeWidth=ctrlBuffer[32]-ctrlBuffer[28]+1;
            }
            if(ctrlBuffer[34]-ctrlBuffer[30]+1>0){
              frameSizeHeight=ctrlBuffer[34]-ctrlBuffer[30]+1;
            }
            resyncFrame();
          }

          // user_cdc_buffer.data[0]=ack;
          CDC_Transmit_HS(user_cdc_buffer.data,1);
          break;
      /**
       * i2c write all
       *   cdc => ctrlBuffer => I2C(maximum 256 bytes)
       *   ack => cdc 36(1byte)
       */
        case 36:
          // ctrlBuffer[user_cdc_buffer.data[1]]=user_cdc_buffer.data[2];
          // user_cdc_buffer.data[0]=ack;
          CDC_Transmit_HS(user_cdc_buffer.data,1);
          break;
      /**
       * i2c read special address
       *   I2C => ctrlBuffer[x]
       *   ack + ctrlBuffer[x] => cdc ack+data(2 bytes)
       */
        case 97:
          // user_cdc_buffer.data[0]=ack=>97;
          HAL_I2C_Master_Transmit(&hi2c3,0x40,&user_cdc_buffer.data[1],1,10);
          HAL_I2C_Master_Receive(&hi2c3,0x40,&ctrlBuffer[user_cdc_buffer.data[1]],1,10);
          user_cdc_buffer.data[1]=ctrlBuffer[user_cdc_buffer.data[1]];
          CDC_Transmit_HS(user_cdc_buffer.data,2);
          break;
      /**
       * i2c read all
       *   ack => cdc 100(1 byte)
       *   I2C => ctrlBuffer => cdc(maximum 256 bytes)
       */
        case 100:
          // user_cdc_buffer.data[0]=ack=>100;
          CDC_Transmit_HS(user_cdc_buffer.data,1);
          for(commands[0]=0;commands[0]<sizeof(ctrlBuffer);commands[0]++){
            HAL_I2C_Master_Transmit(&hi2c3,0x40,commands,1,10);
            HAL_I2C_Master_Receive(&hi2c3,0x40,&ctrlBuffer[commands[0]],1,10);
          }
          CDC_Transmit_HS(ctrlBuffer,sizeof(ctrlBuffer));
          break;
        default:
          break;
      }
      user_cdc_buffer.len = 0;
    }

    if(imgRead==1 && ready==1){
      if(frameReady==0){
        CDC_Transmit_HS(&imgBuffer[2],2*frameSizeWidth*frameSizeHeight);
      }
      else if(frameReady==1){
        imgBuffer[4*frameSizeWidth*frameSizeHeight]=imgBuffer[0];
        imgBuffer[4*frameSizeWidth*frameSizeHeight+1]=imgBuffer[1];
        CDC_Transmit_HS(&imgBuffer[2+2*frameSizeWidth*frameSizeHeight],2*frameSizeWidth*frameSizeHeight);
      }
      imgRead=0;
    }

    if(imgRead==2){
      CDC_Transmit_HS(calibrationPixel,36);
      imgRead=0;
    }

    /* USER CODE END WHILE */

  }
}

void SystemClock_Config(void)
{
  RCC_OscInitTypeDef RCC_OscInitStruct = {0};
  RCC_ClkInitTypeDef RCC_ClkInitStruct = {0};
  RCC_PeriphCLKInitTypeDef PeriphClkInitStruct = {0};

  /** Configure the main internal regulator output voltage
  */
  __HAL_RCC_PWR_CLK_ENABLE();
  __HAL_PWR_VOLTAGESCALING_CONFIG(PWR_REGULATOR_VOLTAGE_SCALE1);
  /** Initializes the CPU, AHB and APB busses clocks
  */
  RCC_OscInitStruct.OscillatorType = RCC_OSCILLATORTYPE_HSE;
  RCC_OscInitStruct.HSEState = RCC_HSE_ON;
  RCC_OscInitStruct.PLL.PLLState = RCC_PLL_ON;
  RCC_OscInitStruct.PLL.PLLSource = RCC_PLLSOURCE_HSE;
  RCC_OscInitStruct.PLL.PLLM = 8;
  RCC_OscInitStruct.PLL.PLLN = 336;
  RCC_OscInitStruct.PLL.PLLP = RCC_PLLP_DIV2;
  RCC_OscInitStruct.PLL.PLLQ = 7;
  if (HAL_RCC_OscConfig(&RCC_OscInitStruct) != HAL_OK)
  {
    Error_Handler();
  }
  /** Initializes the CPU, AHB and APB busses clocks
  */
  RCC_ClkInitStruct.ClockType = RCC_CLOCKTYPE_HCLK|RCC_CLOCKTYPE_SYSCLK
                              |RCC_CLOCKTYPE_PCLK1|RCC_CLOCKTYPE_PCLK2;
  RCC_ClkInitStruct.SYSCLKSource = RCC_SYSCLKSOURCE_PLLCLK;
  RCC_ClkInitStruct.AHBCLKDivider = RCC_SYSCLK_DIV1;
  RCC_ClkInitStruct.APB1CLKDivider = RCC_HCLK_DIV4;
  RCC_ClkInitStruct.APB2CLKDivider = RCC_HCLK_DIV2;

  if (HAL_RCC_ClockConfig(&RCC_ClkInitStruct, FLASH_LATENCY_5) != HAL_OK)
  {
    Error_Handler();
  }
  PeriphClkInitStruct.PeriphClockSelection = RCC_PERIPHCLK_LTDC;
  PeriphClkInitStruct.PLLSAI.PLLSAIN = 100;
  PeriphClkInitStruct.PLLSAI.PLLSAIR = 2;
  PeriphClkInitStruct.PLLSAIDivR = RCC_PLLSAIDIVR_2;
  if (HAL_RCCEx_PeriphCLKConfig(&PeriphClkInitStruct) != HAL_OK)
  {
    Error_Handler();
  }
}

static void MX_I2C3_Init(void)
{

  hi2c3.Instance = I2C3;
  hi2c3.Init.ClockSpeed = 100000;
  hi2c3.Init.DutyCycle = I2C_DUTYCYCLE_2;
  hi2c3.Init.OwnAddress1 = 0;
  hi2c3.Init.AddressingMode = I2C_ADDRESSINGMODE_7BIT;
  hi2c3.Init.DualAddressMode = I2C_DUALADDRESS_DISABLE;
  hi2c3.Init.OwnAddress2 = 0;
  hi2c3.Init.GeneralCallMode = I2C_GENERALCALL_DISABLE;
  hi2c3.Init.NoStretchMode = I2C_NOSTRETCH_DISABLE;
  if (HAL_I2C_Init(&hi2c3) != HAL_OK)
  {
    Error_Handler();
  }
  /** Configure Analogue filter
  */
  if (HAL_I2CEx_ConfigAnalogFilter(&hi2c3, I2C_ANALOGFILTER_ENABLE) != HAL_OK)
  {
    Error_Handler();
  }
  /** Configure Digital filter
  */
  if (HAL_I2CEx_ConfigDigitalFilter(&hi2c3, 0) != HAL_OK)
  {
    Error_Handler();
  }

}

static void MX_LTDC_Init(void)
{

  LTDC_LayerCfgTypeDef pLayerCfg = {0};

  hltdc.Instance = LTDC;
  hltdc.Init.HSPolarity = LTDC_HSPOLARITY_AL;
  hltdc.Init.VSPolarity = LTDC_VSPOLARITY_AL;
  hltdc.Init.DEPolarity = LTDC_DEPOLARITY_AL;
  hltdc.Init.PCPolarity = LTDC_PCPOLARITY_IPC;
  hltdc.Init.HorizontalSync = 9;
  hltdc.Init.VerticalSync = 1;
  hltdc.Init.AccumulatedHBP = 29;
  hltdc.Init.AccumulatedVBP = 3;
  hltdc.Init.AccumulatedActiveW = 269;
  hltdc.Init.AccumulatedActiveH = 323;
  hltdc.Init.TotalWidth = 279;
  hltdc.Init.TotalHeigh = 327;
  hltdc.Init.Backcolor.Blue = 0;
  hltdc.Init.Backcolor.Green = 0;
  hltdc.Init.Backcolor.Red = 0;
  if (HAL_LTDC_Init(&hltdc) != HAL_OK)
  {
    Error_Handler();
  }
  pLayerCfg.WindowX0 = 0;
  pLayerCfg.WindowX1 = 240;
  pLayerCfg.WindowY0 = 0;
  pLayerCfg.WindowY1 = 320;
  pLayerCfg.PixelFormat = LTDC_PIXEL_FORMAT_RGB565;
  pLayerCfg.Alpha = 255;
  pLayerCfg.Alpha0 = 0;
  pLayerCfg.BlendingFactor1 = LTDC_BLENDING_FACTOR1_PAxCA;
  pLayerCfg.BlendingFactor2 = LTDC_BLENDING_FACTOR2_PAxCA;
  pLayerCfg.FBStartAdress = 0xD0000000;
  pLayerCfg.ImageWidth = 240;
  pLayerCfg.ImageHeight = 320;
  pLayerCfg.Backcolor.Blue = 0;
  pLayerCfg.Backcolor.Green = 0;
  pLayerCfg.Backcolor.Red = 0;
  if (HAL_LTDC_ConfigLayer(&hltdc, &pLayerCfg, 0) != HAL_OK)
  {
    Error_Handler();
  }

}

static void MX_SPI4_Init(void)
{

  /* SPI4 parameter configuration*/
  hspi4.Instance = SPI4;
  hspi4.Init.Mode = SPI_MODE_SLAVE;
  hspi4.Init.Direction = SPI_DIRECTION_2LINES_RXONLY;
  hspi4.Init.DataSize = SPI_DATASIZE_16BIT;
  hspi4.Init.CLKPolarity = SPI_POLARITY_LOW;
  hspi4.Init.CLKPhase = SPI_PHASE_1EDGE;
  hspi4.Init.NSS = SPI_NSS_HARD_INPUT;
  hspi4.Init.FirstBit = SPI_FIRSTBIT_MSB;
  hspi4.Init.TIMode = SPI_TIMODE_DISABLE;
  hspi4.Init.CRCCalculation = SPI_CRCCALCULATION_DISABLE;
  hspi4.Init.CRCPolynomial = 10;
  if (HAL_SPI_Init(&hspi4) != HAL_OK)
  {
    Error_Handler();
  }

}

static void MX_DMA_Init(void)
{

  /* DMA controller clock enable */
  __HAL_RCC_DMA2_CLK_ENABLE();
  __HAL_RCC_DMA1_CLK_ENABLE();

  /* DMA interrupt init */
  /* DMA1_Stream2_IRQn interrupt configuration */
  HAL_NVIC_SetPriority(DMA1_Stream2_IRQn, 0, 0);
  HAL_NVIC_EnableIRQ(DMA1_Stream2_IRQn);
  /* DMA2_Stream0_IRQn interrupt configuration */
  HAL_NVIC_SetPriority(DMA2_Stream0_IRQn, 1, 0);
  HAL_NVIC_EnableIRQ(DMA2_Stream0_IRQn);

}

static void MX_GPIO_Init(void)
{
  GPIO_InitTypeDef GPIO_InitStruct = {0};

  /* GPIO Ports Clock Enable */
  __HAL_RCC_GPIOE_CLK_ENABLE();
  __HAL_RCC_GPIOC_CLK_ENABLE();
  __HAL_RCC_GPIOF_CLK_ENABLE();
  __HAL_RCC_GPIOH_CLK_ENABLE();
  __HAL_RCC_GPIOA_CLK_ENABLE();
  __HAL_RCC_GPIOB_CLK_ENABLE();
  __HAL_RCC_GPIOG_CLK_ENABLE();
  __HAL_RCC_GPIOD_CLK_ENABLE();

  /*Configure GPIO pin Output Level */
  HAL_GPIO_WritePin(SPI_SS_GPIO_Port, SPI_SS_Pin, GPIO_PIN_RESET);

  /*Configure GPIO pin Output Level */
  HAL_GPIO_WritePin(GPIOC, NCS_MEMS_SPI_Pin|CSX_Pin|OTG_FS_PSO_Pin, GPIO_PIN_RESET);

  /*Configure GPIO pin Output Level */
  HAL_GPIO_WritePin(ACP_RST_GPIO_Port, ACP_RST_Pin, GPIO_PIN_RESET);

  /*Configure GPIO pin Output Level */
  HAL_GPIO_WritePin(GPIOD, RDX_Pin|WRX_DCX_Pin, GPIO_PIN_RESET);

  /*Configure GPIO pin Output Level */
  HAL_GPIO_WritePin(GPIOG, LD3_Pin|LD4_Pin, GPIO_PIN_RESET);

  /*Configure GPIO pin : SPI_SS_Pin */
  GPIO_InitStruct.Pin = SPI_SS_Pin;
  GPIO_InitStruct.Mode = GPIO_MODE_OUTPUT_PP;
  GPIO_InitStruct.Pull = GPIO_NOPULL;
  GPIO_InitStruct.Speed = GPIO_SPEED_FREQ_LOW;
  HAL_GPIO_Init(SPI_SS_GPIO_Port, &GPIO_InitStruct);

  /*Configure GPIO pins : A0_Pin A1_Pin A2_Pin A3_Pin
                           A4_Pin A5_Pin SDNRAS_Pin A6_Pin
                           A7_Pin A8_Pin A9_Pin */
  GPIO_InitStruct.Pin = A0_Pin|A1_Pin|A2_Pin|A3_Pin
                          |A4_Pin|A5_Pin|SDNRAS_Pin|A6_Pin
                          |A7_Pin|A8_Pin|A9_Pin;
  GPIO_InitStruct.Mode = GPIO_MODE_AF_PP;
  GPIO_InitStruct.Pull = GPIO_NOPULL;
  GPIO_InitStruct.Speed = GPIO_SPEED_FREQ_VERY_HIGH;
  GPIO_InitStruct.Alternate = GPIO_AF12_FMC;
  HAL_GPIO_Init(GPIOF, &GPIO_InitStruct);

  /*Configure GPIO pins : SPI5_SCK_Pin SPI5_MISO_Pin SPI5_MOSI_Pin */
  GPIO_InitStruct.Pin = SPI5_SCK_Pin|SPI5_MISO_Pin|SPI5_MOSI_Pin;
  GPIO_InitStruct.Mode = GPIO_MODE_AF_PP;
  GPIO_InitStruct.Pull = GPIO_NOPULL;
  GPIO_InitStruct.Speed = GPIO_SPEED_FREQ_LOW;
  GPIO_InitStruct.Alternate = GPIO_AF5_SPI5;
  HAL_GPIO_Init(GPIOF, &GPIO_InitStruct);

  /*Configure GPIO pin : SDNWE_Pin */
  GPIO_InitStruct.Pin = SDNWE_Pin;
  GPIO_InitStruct.Mode = GPIO_MODE_AF_PP;
  GPIO_InitStruct.Pull = GPIO_NOPULL;
  GPIO_InitStruct.Speed = GPIO_SPEED_FREQ_VERY_HIGH;
  GPIO_InitStruct.Alternate = GPIO_AF12_FMC;
  HAL_GPIO_Init(SDNWE_GPIO_Port, &GPIO_InitStruct);

  /*Configure GPIO pins : NCS_MEMS_SPI_Pin CSX_Pin OTG_FS_PSO_Pin */
  GPIO_InitStruct.Pin = NCS_MEMS_SPI_Pin|CSX_Pin|OTG_FS_PSO_Pin;
  GPIO_InitStruct.Mode = GPIO_MODE_OUTPUT_PP;
  GPIO_InitStruct.Pull = GPIO_NOPULL;
  GPIO_InitStruct.Speed = GPIO_SPEED_FREQ_LOW;
  HAL_GPIO_Init(GPIOC, &GPIO_InitStruct);

  /*Configure GPIO pin : B1_Pin */
  GPIO_InitStruct.Pin = B1_Pin;
  GPIO_InitStruct.Mode = GPIO_MODE_IT_RISING;
  GPIO_InitStruct.Pull = GPIO_NOPULL;
  HAL_GPIO_Init(B1_GPIO_Port, &GPIO_InitStruct);

  /*Configure GPIO pins : MEMS_INT1_Pin MEMS_INT2_Pin TP_INT1_Pin */
  GPIO_InitStruct.Pin = MEMS_INT1_Pin|MEMS_INT2_Pin|TP_INT1_Pin;
  GPIO_InitStruct.Mode = GPIO_MODE_EVT_RISING;
  GPIO_InitStruct.Pull = GPIO_NOPULL;
  HAL_GPIO_Init(GPIOA, &GPIO_InitStruct);

  /*Configure GPIO pin : SENSER_VSYNC_Pin */
  GPIO_InitStruct.Pin = SENSER_VSYNC_Pin;
  GPIO_InitStruct.Mode = GPIO_MODE_IT_FALLING;
  GPIO_InitStruct.Pull = GPIO_PULLUP;
  HAL_GPIO_Init(SENSER_VSYNC_GPIO_Port, &GPIO_InitStruct);

  /*Configure GPIO pin : ACP_RST_Pin */
  GPIO_InitStruct.Pin = ACP_RST_Pin;
  GPIO_InitStruct.Mode = GPIO_MODE_OUTPUT_PP;
  GPIO_InitStruct.Pull = GPIO_NOPULL;
  GPIO_InitStruct.Speed = GPIO_SPEED_FREQ_LOW;
  HAL_GPIO_Init(ACP_RST_GPIO_Port, &GPIO_InitStruct);

  /*Configure GPIO pin : BOOT1_Pin */
  GPIO_InitStruct.Pin = BOOT1_Pin;
  GPIO_InitStruct.Mode = GPIO_MODE_INPUT;
  GPIO_InitStruct.Pull = GPIO_NOPULL;
  HAL_GPIO_Init(BOOT1_GPIO_Port, &GPIO_InitStruct);

  /*Configure GPIO pins : A10_Pin A11_Pin BA0_Pin BA1_Pin
                           SDCLK_Pin SDNCAS_Pin */
  GPIO_InitStruct.Pin = A10_Pin|A11_Pin|BA0_Pin|BA1_Pin
                          |SDCLK_Pin|SDNCAS_Pin;
  GPIO_InitStruct.Mode = GPIO_MODE_AF_PP;
  GPIO_InitStruct.Pull = GPIO_NOPULL;
  GPIO_InitStruct.Speed = GPIO_SPEED_FREQ_VERY_HIGH;
  GPIO_InitStruct.Alternate = GPIO_AF12_FMC;
  HAL_GPIO_Init(GPIOG, &GPIO_InitStruct);

  /*Configure GPIO pins : D4_Pin D5_Pin D6_Pin D7_Pin
                           D8_Pin D9_Pin D10_Pin D11_Pin
                           D12_Pin NBL0_Pin NBL1_Pin */
  GPIO_InitStruct.Pin = D4_Pin|D5_Pin|D6_Pin|D7_Pin
                          |D8_Pin|D9_Pin|D10_Pin|D11_Pin
                          |D12_Pin|NBL0_Pin|NBL1_Pin;
  GPIO_InitStruct.Mode = GPIO_MODE_AF_PP;
  GPIO_InitStruct.Pull = GPIO_NOPULL;
  GPIO_InitStruct.Speed = GPIO_SPEED_FREQ_VERY_HIGH;
  GPIO_InitStruct.Alternate = GPIO_AF12_FMC;
  HAL_GPIO_Init(GPIOE, &GPIO_InitStruct);

  /*Configure GPIO pins : D13_Pin D14_Pin D15_Pin D0_Pin
                           D1_Pin D2_Pin D3_Pin */
  GPIO_InitStruct.Pin = D13_Pin|D14_Pin|D15_Pin|D0_Pin
                          |D1_Pin|D2_Pin|D3_Pin;
  GPIO_InitStruct.Mode = GPIO_MODE_AF_PP;
  GPIO_InitStruct.Pull = GPIO_NOPULL;
  GPIO_InitStruct.Speed = GPIO_SPEED_FREQ_VERY_HIGH;
  GPIO_InitStruct.Alternate = GPIO_AF12_FMC;
  HAL_GPIO_Init(GPIOD, &GPIO_InitStruct);

  /*Configure GPIO pin : TE_Pin */
  GPIO_InitStruct.Pin = TE_Pin;
  GPIO_InitStruct.Mode = GPIO_MODE_INPUT;
  GPIO_InitStruct.Pull = GPIO_NOPULL;
  HAL_GPIO_Init(TE_GPIO_Port, &GPIO_InitStruct);

  /*Configure GPIO pins : RDX_Pin WRX_DCX_Pin */
  GPIO_InitStruct.Pin = RDX_Pin|WRX_DCX_Pin;
  GPIO_InitStruct.Mode = GPIO_MODE_OUTPUT_PP;
  GPIO_InitStruct.Pull = GPIO_NOPULL;
  GPIO_InitStruct.Speed = GPIO_SPEED_FREQ_LOW;
  HAL_GPIO_Init(GPIOD, &GPIO_InitStruct);

  /*Configure GPIO pins : STLINK_RX_Pin STLINK_TX_Pin */
  GPIO_InitStruct.Pin = STLINK_RX_Pin|STLINK_TX_Pin;
  GPIO_InitStruct.Mode = GPIO_MODE_AF_PP;
  GPIO_InitStruct.Pull = GPIO_NOPULL;
  GPIO_InitStruct.Speed = GPIO_SPEED_FREQ_VERY_HIGH;
  GPIO_InitStruct.Alternate = GPIO_AF7_USART1;
  HAL_GPIO_Init(GPIOA, &GPIO_InitStruct);

  /*Configure GPIO pins : LD3_Pin LD4_Pin */
  GPIO_InitStruct.Pin = LD3_Pin|LD4_Pin;
  GPIO_InitStruct.Mode = GPIO_MODE_OUTPUT_PP;
  GPIO_InitStruct.Pull = GPIO_NOPULL;
  GPIO_InitStruct.Speed = GPIO_SPEED_FREQ_LOW;
  HAL_GPIO_Init(GPIOG, &GPIO_InitStruct);

  /*Configure GPIO pins : SDCKE1_Pin SDNE1_Pin */
  GPIO_InitStruct.Pin = SDCKE1_Pin|SDNE1_Pin;
  GPIO_InitStruct.Mode = GPIO_MODE_AF_PP;
  GPIO_InitStruct.Pull = GPIO_NOPULL;
  GPIO_InitStruct.Speed = GPIO_SPEED_FREQ_VERY_HIGH;
  GPIO_InitStruct.Alternate = GPIO_AF12_FMC;
  HAL_GPIO_Init(GPIOB, &GPIO_InitStruct);

  /* EXTI interrupt init*/
  HAL_NVIC_SetPriority(EXTI0_IRQn, 0, 0);
  HAL_NVIC_EnableIRQ(EXTI0_IRQn);

  HAL_NVIC_SetPriority(EXTI9_5_IRQn, 0, 0);
  HAL_NVIC_EnableIRQ(EXTI9_5_IRQn);

}

 /**
  * @brief  Period elapsed callback in non blocking mode
  * @note   This function is called  when TIM6 interrupt took place, inside
  * HAL_TIM_IRQHandler(). It makes a direct call to HAL_IncTick() to increment
  * a global variable "uwTick" used as application time base.
  * @param  htim : TIM handle
  * @retval None
  */
void HAL_TIM_PeriodElapsedCallback(TIM_HandleTypeDef *htim)
{
  if (htim->Instance == TIM6) {
    HAL_IncTick();
  }
}

void Error_Handler(void)
{
}

/************************ (C) COPYRIGHT STMicroelectronics *****END OF FILE****/
